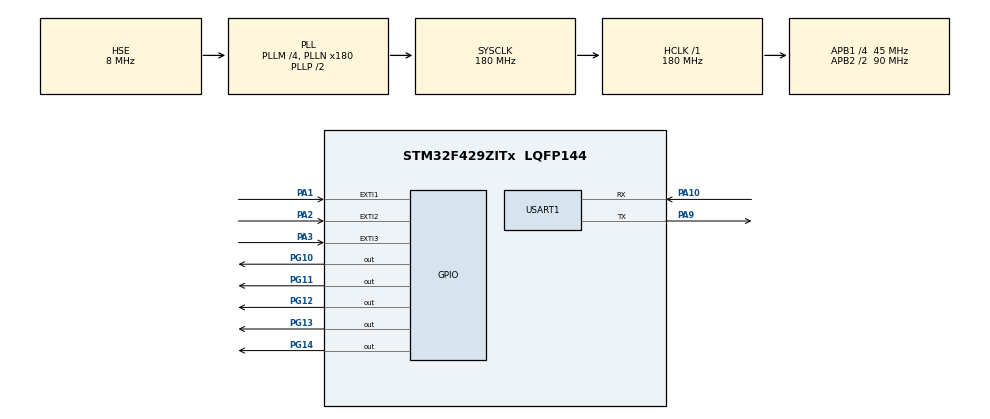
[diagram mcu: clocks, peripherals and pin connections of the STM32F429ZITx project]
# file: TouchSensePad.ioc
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FREERTOS.Events01=myEvent01,Dynamic,NULL
FREERTOS.Tasks01=defaultTask,24,128,StartDefaultTask,Default,NULL,Dynamic,NULL,NULL
FREERTOS.Timers01=myTimer01,Callback01,osTimerPeriodic,Default,NULL,Dynamic,NULL
Mcu.Family=STM32F4
Mcu.Name=STM32F429ZITx
Mcu.Package=LQFP144
NVIC.EXTI1_IRQn=true\:5\:0\:false\:false\:true\:true\:true\:true\:true
NVIC.EXTI2_IRQn=true\:5\:0\:false\:false\:true\:true\:true\:true\:true
NVIC.EXTI3_IRQn=true\:5\:0\:false\:false\:true\:true\:true\:true\:true
NVIC.PriorityGroup=NVIC_PRIORITYGROUP_4
NVIC.USART1_IRQn=true\:5\:0\:false\:false\:true\:true\:true\:true\:true
PA1.GPIO_PuPd=GPIO_PULLDOWN
PA1.Signal=GPXTI1
PA10.Mode=Asynchronous
PA10.Signal=USART1_RX
PA2.GPIO_PuPd=GPIO_PULLDOWN
PA2.Signal=GPXTI2
PA3.GPIO_PuPd=GPIO_PULLDOWN
PA3.Signal=GPXTI3
PA9.Mode=Asynchronous
PA9.Signal=USART1_TX
PG10.Signal=GPIO_Output
PG11.Signal=GPIO_Output
PG12.Signal=GPIO_Output
PG13.Signal=GPIO_Output
PG14.Signal=GPIO_Output
PH0/OSC_IN.Mode=HSE-External-Oscillator
PH0/OSC_IN.Signal=RCC_OSC_IN
PH1/OSC_OUT.Mode=HSE-External-Oscillator
PH1/OSC_OUT.Signal=RCC_OSC_OUT
ProjectManager.HeapSize=0x200
ProjectManager.StackSize=0x400
ProjectManager.TargetToolchain=STM32CubeIDE
RCC.48MHZClocksFreq_Value=90000000
RCC.AHBFreq_Value=180000000
RCC.APB1CLKDivider=RCC_HCLK_DIV4
RCC.APB1Freq_Value=45000000
RCC.APB1TimFreq_Value=90000000
RCC.APB2CLKDivider=RCC_HCLK_DIV2
RCC.APB2Freq_Value=90000000
RCC.APB2TimFreq_Value=180000000
RCC.CortexFreq_Value=180000000
RCC.HCLKFreq_Value=180000000
RCC.HSE_VALUE=8000000
RCC.HSI_VALUE=16000000
RCC.LSE_VALUE=32768
RCC.PLLM=4
RCC.PLLN=180
RCC.PLLSourceVirtual=RCC_PLLSOURCE_HSE
RCC.SYSCLKFreq_VALUE=180000000
RCC.SYSCLKSource=RCC_SYSCLKSOURCE_PLLCLK
RCC.VCOOutputFreq_Value=360000000
USART1.VirtualMode=VM_ASYNC
VP_FREERTOS_VS_CMSIS_V2.Mode=CMSIS_V2
board=custom

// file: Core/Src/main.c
/* USER CODE BEGIN Header */
/**
 ******************************************************************************
 * @file           : main.c
 * @brief          : Main program body
 ******************************************************************************
 * @attention
 *
 * Copyright (c) 2026 STMicroelectronics.
 * All rights reserved.
 *
 * This software is licensed under terms that can be found in the LICENSE file
 * in the root directory of this software component.
 * If no LICENSE file comes with this software, it is provided AS-IS.
 *
 ******************************************************************************
 */
/* USER CODE END Header */
#include "main.h"
#include "cmsis_os.h"

/* USER CODE BEGIN Includes */
#include "event_groups.h"
/* USER CODE END Includes */

/* USER CODE BEGIN PD */
#define EMG_BIT 0x01
#define TASK1 0x02
#define TASK2 0x04
#define TASK3 0x08
/* USER CODE END PD */

UART_HandleTypeDef huart1;

/* Definitions for defaultTask */
//osThreadId_t defaultTaskHandle;
//const osThreadAttr_t defaultTask_attributes = { .name = "defaultTask",
//		.stack_size = 128 * 4, .priority = (osPriority_t) osPriorityNormal, };
///* Definitions for myTimer01 */
//osTimerId_t myTimer01Handle;
//const osTimerAttr_t myTimer01_attributes = { .name = "myTimer01" };
///* Definitions for myEvent01 */
//osEventFlagsId_t myEvent01Handle;
//const osEventFlagsAttr_t myEvent01_attributes = { .name = "myEvent01" };

void SystemClock_Config(void);
static void MX_GPIO_Init(void);
static void MX_USART1_UART_Init(void);
void StartDefaultTask(void *argument);
void Callback01(void *argument);

/* USER CODE BEGIN 0 */
void HAL_UART_RxCpltCallback(UART_HandleTypeDef *huart);
void HAL_GPIO_EXTI_Callback(uint16_t GPIO_Pin);
TaskHandle_t task1;
TaskHandle_t task2;
TaskHandle_t task3;
TaskHandle_t emg_task;
TaskHandle_t cntl_task;
TaskHandle_t uart_task;
EventBits_t bits;
EventGroupHandle_t event_group;
TimerHandle_t Timer1;
TimerHandle_t Timer2;
uint8_t buf[15];
uint8_t status_buf[500];
uint8_t event_count;
uint8_t ch;
uint8_t i;

void* Task1(void *arg);
void* Task2(void *arg);
void* Task3(void *arg);
void* Emg_Task(void *arg);
void* Control_Task(void *arg);
void Timer2_Task(TimerHandle_t xTimer);
void Status_Task(TimerHandle_t xTimer);
void* UART_Task(void *arg);

void HAL_GPIO_EXTI_Callback(uint16_t GPIO_Pin) {
	BaseType_t HighPriorityTaskWoken = pdFALSE;
	xTimerStartFromISR(Timer2, &HighPriorityTaskWoken);
	portYIELD_FROM_ISR(HighPriorityTaskWoken);
}

void HAL_UART_RxCpltCallback(UART_HandleTypeDef *huart) {
	HAL_GPIO_TogglePin(GPIOG, GPIO_PIN_13);
	if (huart->Instance == USART1) {
		BaseType_t HighPriorityTaskWoken = pdFALSE;
		if (ch == '\r') {
			buf[i] = '\0';
		} else {
			buf[i++] = ch;
		}
		if (i == 7 || i == 14) {
			vTaskNotifyGiveFromISR(uart_task, &HighPriorityTaskWoken);
			portYIELD_FROM_ISR(HighPriorityTaskWoken);
		}
		HAL_UART_Receive_IT(&huart1, &ch, 1);
	}
}

int _write(int file, char *str, int size) {
	HAL_UART_Transmit(&huart1, (uint8_t*) str, size, HAL_MAX_DELAY);
	return size;
}

/* USER CODE END 0 */

int main(void) {

	/* MCU Configuration--------------------------------------------------------*/

	/* Reset of all peripherals, Initializes the Flash interface and the Systick. */
	HAL_Init();

	/* Configure the system clock */
	SystemClock_Config();

	/* Initialize all configured peripherals */
	MX_GPIO_Init();
	MX_USART1_UART_Init();
	/* USER CODE BEGIN 2 */
	event_group = xEventGroupCreate();
	Timer1 = xTimerCreate("Timer1", pdMS_TO_TICKS(20000), pdTRUE, 0,Status_Task);
	xTimerStart(Timer1, 0);
	Timer2 = xTimerCreate("Timer2", pdMS_TO_TICKS(100), pdTRUE, 0, Timer2_Task);

	xTaskCreate(Task1, "task1", 256, NULL, 0, &task1);
	vTaskSuspend(task1);
	xTaskCreate(Task2, "task2", 256, NULL, 0, &task2);
	vTaskSuspend(task2);
	xTaskCreate(Task3, "task3", 256, NULL, 0, &task3);
	vTaskSuspend(task3);
	xTaskCreate(Emg_Task, "emg_task", 256, NULL, 2, &emg_task);
	vTaskSuspend(emg_task);
	xTaskCreate(Control_Task, " cntl_task", 256, NULL, 2, &cntl_task);
	xTaskCreate(UART_Task, "uart_task", 256, NULL, 1, &uart_task);

	HAL_UART_Receive_IT(&huart1, &ch, 1);

	vTaskStartScheduler();
	/* USER CODE END 2 */

	/* Init scheduler */
	// osKernelInitialize();

	/* Create the timer(s) */
	/* creation of myTimer01 */
//		myTimer01Handle = osTimerNew(Callback01, osTimerPeriodic, NULL,
//				&myTimer01_attributes);

	/* Create the thread(s) */
	/* creation of defaultTask */
//		defaultTaskHandle = osThreadNew(StartDefaultTask, NULL,
//				&defaultTask_attributes);

	/* Create the event(s) */
	/* creation of myEvent01 */
//		myEvent01Handle = osEventFlagsNew(&myEvent01_attributes);

	/* Start scheduler */
	// osKernelStart();
	/* We should never get here as control is now taken by the scheduler */

	/* Infinite loop */
	/* USER CODE BEGIN WHILE */
	//HAL_UART_Receive_IT(&huart1, &ch, 1);
	while (1) {
		/* USER CODE END WHILE */

	}
}

void SystemClock_Config(void) {
	RCC_OscInitTypeDef RCC_OscInitStruct = { 0 };
	RCC_ClkInitTypeDef RCC_ClkInitStruct = { 0 };

	/** Configure the main internal regulator output voltage
	 */
	__HAL_RCC_PWR_CLK_ENABLE();
	__HAL_PWR_VOLTAGESCALING_CONFIG(PWR_REGULATOR_VOLTAGE_SCALE1);

	/** Initializes the RCC Oscillators according to the specified parameters
	 * in the RCC_OscInitTypeDef structure.
	 */
	RCC_OscInitStruct.OscillatorType = RCC_OSCILLATORTYPE_HSE;
	RCC_OscInitStruct.HSEState = RCC_HSE_ON;
	RCC_OscInitStruct.PLL.PLLState = RCC_PLL_ON;
	RCC_OscInitStruct.PLL.PLLSource = RCC_PLLSOURCE_HSE;
	RCC_OscInitStruct.PLL.PLLM = 4;
	RCC_OscInitStruct.PLL.PLLN = 180;
	RCC_OscInitStruct.PLL.PLLP = RCC_PLLP_DIV2;
	RCC_OscInitStruct.PLL.PLLQ = 4;
	if (HAL_RCC_OscConfig(&RCC_OscInitStruct) != HAL_OK) {
		Error_Handler();
	}

	/** Activate the Over-Drive mode
	 */
	if (HAL_PWREx_EnableOverDrive() != HAL_OK) {
		Error_Handler();
	}

	/** Initializes the CPU, AHB and APB buses clocks
	 */
	RCC_ClkInitStruct.ClockType = RCC_CLOCKTYPE_HCLK | RCC_CLOCKTYPE_SYSCLK
			| RCC_CLOCKTYPE_PCLK1 | RCC_CLOCKTYPE_PCLK2;
	RCC_ClkInitStruct.SYSCLKSource = RCC_SYSCLKSOURCE_PLLCLK;
	RCC_ClkInitStruct.AHBCLKDivider = RCC_SYSCLK_DIV1;
	RCC_ClkInitStruct.APB1CLKDivider = RCC_HCLK_DIV4;
	RCC_ClkInitStruct.APB2CLKDivider = RCC_HCLK_DIV2;

	if (HAL_RCC_ClockConfig(&RCC_ClkInitStruct, FLASH_LATENCY_5) != HAL_OK) {
		Error_Handler();
	}
}

static void MX_USART1_UART_Init(void) {

	huart1.Instance = USART1;
	huart1.Init.BaudRate = 115200;
	huart1.Init.WordLength = UART_WORDLENGTH_8B;
	huart1.Init.StopBits = UART_STOPBITS_1;
	huart1.Init.Parity = UART_PARITY_NONE;
	huart1.Init.Mode = UART_MODE_TX_RX;
	huart1.Init.HwFlowCtl = UART_HWCONTROL_NONE;
	huart1.Init.OverSampling = UART_OVERSAMPLING_16;
	if (HAL_UART_Init(&huart1) != HAL_OK) {
		Error_Handler();
	}

}

static void MX_GPIO_Init(void) {
	GPIO_InitTypeDef GPIO_InitStruct = { 0 };

	/* GPIO Ports Clock Enable */
	__HAL_RCC_GPIOH_CLK_ENABLE();
	__HAL_RCC_GPIOA_CLK_ENABLE();
	__HAL_RCC_GPIOG_CLK_ENABLE();

	/*Configure GPIO pin Output Level */
	HAL_GPIO_WritePin(GPIOG,
	GPIO_PIN_10 | GPIO_PIN_11 | GPIO_PIN_12 | GPIO_PIN_13 | GPIO_PIN_14,
			GPIO_PIN_RESET);

	/*Configure GPIO pins : PA1 PA2 PA3 */
	GPIO_InitStruct.Pin = GPIO_PIN_1 | GPIO_PIN_2 | GPIO_PIN_3;
	GPIO_InitStruct.Mode = GPIO_MODE_IT_RISING;
	GPIO_InitStruct.Pull = GPIO_PULLDOWN;
	HAL_GPIO_Init(GPIOA, &GPIO_InitStruct);

	/*Configure GPIO pins : PG10 PG11 PG12 PG13
	 PG14 */
	GPIO_InitStruct.Pin = GPIO_PIN_10 | GPIO_PIN_11 | GPIO_PIN_12 | GPIO_PIN_13
			| GPIO_PIN_14;
	GPIO_InitStruct.Mode = GPIO_MODE_OUTPUT_PP;
	GPIO_InitStruct.Pull = GPIO_NOPULL;
	GPIO_InitStruct.Speed = GPIO_SPEED_FREQ_LOW;
	HAL_GPIO_Init(GPIOG, &GPIO_InitStruct);

	/* EXTI interrupt init*/
	HAL_NVIC_SetPriority(EXTI1_IRQn, 5, 0);
	HAL_NVIC_EnableIRQ(EXTI1_IRQn);

	HAL_NVIC_SetPriority(EXTI2_IRQn, 5, 0);
	HAL_NVIC_EnableIRQ(EXTI2_IRQn);

	HAL_NVIC_SetPriority(EXTI3_IRQn, 5, 0);
	HAL_NVIC_EnableIRQ(EXTI3_IRQn);

}

/* USER CODE BEGIN 4 */
void Task1(void *arg) {
	for (;;) {
		HAL_GPIO_TogglePin(GPIOG, GPIO_PIN_10);
		vTaskDelay(pdMS_TO_TICKS(500));
	}
}

void Task2(void *arg) {
	for (;;) {
		HAL_GPIO_TogglePin(GPIOG, GPIO_PIN_11);
		vTaskDelay(pdMS_TO_TICKS(1000));
	}
}

void Task3(void *arg) {
	for (;;) {
		HAL_GPIO_TogglePin(GPIOG, GPIO_PIN_12);
		vTaskDelay(pdMS_TO_TICKS(1500));
	}
}

void Emg_Task(void *arg) {
	for (;;) {
		HAL_GPIO_TogglePin(GPIOG, GPIO_PIN_14);
		vTaskDelay(pdMS_TO_TICKS(1000));
	}
}

void Control_Task(void *arg) {
	for (;;) {
		bits = xEventGroupWaitBits(event_group,
		EMG_BIT | TASK1 | TASK2 | TASK3, pdTRUE, pdFALSE,
		portMAX_DELAY);
		switch (bits) {
		case EMG_BIT:
			vTaskSuspend(task1);
			vTaskSuspend(task2);
			vTaskSuspend(task3);

			vTaskResume(emg_task);
			event_count = event_count + 1;
			break;
		case TASK1:
			vTaskSuspend(emg_task);
			vTaskSuspend(task2);
			vTaskSuspend(task3);

			vTaskResume(task1);
			event_count = event_count + 1;
			break;
		case TASK2:
			vTaskSuspend(emg_task);
			vTaskSuspend(task1);
			vTaskSuspend(task3);

			vTaskResume(task2);
			event_count = event_count + 1;
			break;
		case TASK3:
			vTaskSuspend(task1);
			vTaskSuspend(task2);
			vTaskSuspend(emg_task);

			vTaskResume(task3);
			event_count = event_count + 1;
			break;
		}
	}
}

void Timer2_Task(TimerHandle_t xTimer) {
	if ((HAL_GPIO_ReadPin(GPIOA, GPIO_PIN_0)) == 1) {
		xEventGroupSetBits(event_group, EMG_BIT);
	} else if ((HAL_GPIO_ReadPin(GPIOA, GPIO_PIN_1)) == 1) {
		xEventGroupSetBits(event_group, TASK1);
	} else if ((HAL_GPIO_ReadPin(GPIOA, GPIO_PIN_2)) == 1) {
		xEventGroupSetBits(event_group, TASK2);
	} else if ((HAL_GPIO_ReadPin(GPIOA, GPIO_PIN_3)) == 1) {
		xEventGroupSetBits(event_group, TASK3);
	}
}

void UART_Task(void *arg) {
	for (;;) {

		ulTaskNotifyTake(pdTRUE, portMAX_DELAY);
	//	i = 0;
		if ((strncmp(buf, "STATUS?", 7)) == 0) {
			i = 0;
			vTaskList(status_buf);
			printf("status of all->%s", status_buf);
		} else if ((strncmp(buf, "SET_MODE=TASK1", 14)) == 0) {
			i = 0;
			xEventGroupSetBits(event_group, TASK1);
		} else if ((strncmp(buf, "SET_MODE=TASK2", 14)) == 0) {
			i = 0;
			xEventGroupSetBits(event_group, TASK2);
		} else if ((strncmp(buf, "SET_MODE=TASK3", 14)) == 0) {
			i = 0;
			xEventGroupSetBits(event_group, TASK3);
		} else if ((strncmp(buf, "SET_MODE=ETASK", 14)) == 0) {
			i = 0;
			xEventGroupSetBits(event_group, EMG_BIT);
		}
		//vTaskDelay(pdMS_TO_TICKS(100));
	}
}

void Status_Task(TimerHandle_t xTimer) {
	i = 0;
	printf("\no. of events->%d\r\n", event_count);
}
/* USER CODE END 4 */

void StartDefaultTask(void *argument) {
for (;;) {
	osDelay(1);
}
}

/* Callback01 function */
void Callback01(void *argument) {
}

void Error_Handler(void) {
__disable_irq();
while (1) {
}
}
